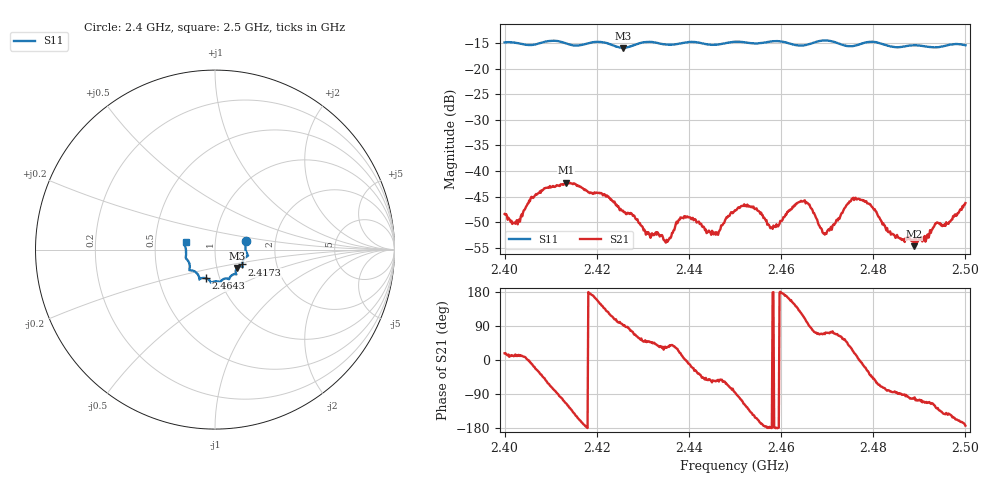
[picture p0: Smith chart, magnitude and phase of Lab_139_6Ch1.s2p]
# Hz S RI R 50
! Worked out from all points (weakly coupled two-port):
!   601 points, 2.4 GHz to 2.5 GHz, reference 50 ohm
!   highest |S21| = -42.28 dB at 2.4133 GHz (marker M1); lowest = -54.7 dB at 2.4888 GHz (marker M2)
!   lowest |S11| = -15.9 dB at 2.4257 GHz (marker M3), VSWR 1.38, Z = 62.4 - j13.1 ohm
!   |S11| at or under -10 dB: start of sweep to end of sweep
!   S12 and S22 are empty: the file has one direction only
!   S11 on the Smith chart (normalised r, x): 2.4 GHz: 1.41, +0.14; 2.4173 GHz: 1.34, -0.23; 2.4643 GHz: 0.86, -0.28; 2.5 GHz: 0.72, +0.06
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2.4e9  0.1737 0.049  0.00363 0.00116  0 0  0 0
2.402833e9  0.1738 0.036  0.00297 0.000549  0 0  0 0
2.406167e9  0.1705 -0.000965  0.00528 -0.0014  0 0  0 0
2.413333e9  0.1711 -0.0425  -0.00317 -0.00701  0 0  0 0
2.416667e9  0.1525 -0.0751  -0.00664 -0.0019  0 0  0 0
2.417333e9  0.1519 -0.0824  -0.00645 -0.000962  0 0  0 0
2.425667e9  0.1223 -0.1023  -0.000168 0.00411  0 0  0 0
2.433333e9  0.1128 -0.1366  0.00195 0.0015  0 0  0 0
2.4355e9  0.0976 -0.1404  0.00171 0.00121  0 0  0 0
2.4395e9  0.0802 -0.1619  0.00357 -0.000208  0 0  0 0
2.445833e9  0.0484 -0.164  0.00132 -0.00199  0 0  0 0
2.45e9  0.0296 -0.1807  0.00031 -0.00413  0 0  0 0
2.454167e9  0.00881 -0.1761  -0.00361 -0.00237  0 0  0 0
2.458167e9  -0.0194 -0.1837  -0.00272 8.88e-05  0 0  0 0
2.464333e9  -0.0502 -0.1601  -0.00287 0.00425  0 0  0 0
2.466667e9  -0.0761 -0.1594  0.000591 0.00424  0 0  0 0
2.4695e9  -0.0876 -0.1667  0.000889 0.00223  0 0  0 0
2.475167e9  -0.1082 -0.125  0.00434 0.00269  0 0  0 0
2.477167e9  -0.1284 -0.1165  0.00522 -0.000177  0 0  0 0
2.483333e9  -0.1406 -0.0895  0.000439 -0.00249  0 0  0 0
2.488833e9  -0.1623 -0.0472  -0.000312 -0.00182  0 0  0 0
2.5e9  -0.1639 0.0417  -0.00484 -0.000572  0 0  0 0
